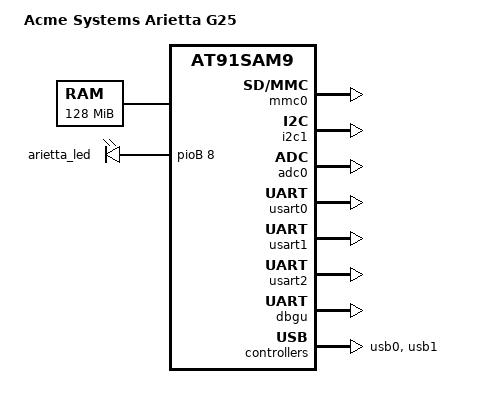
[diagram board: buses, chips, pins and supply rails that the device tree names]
/*
 * Device Tree file for Arietta G25
 * https://www.acmesystems.it/arietta
 */
 
/dts-v1/;
#include "at91sam9g25.dtsi"
/ {
	model = "Acme Systems Arietta G25";
	compatible = "acme,ariettag25", "atmel,at91sam9x5", "atmel,at91sam9";

	aliases {
		serial0 = &dbgu;
		serial1 = &usart0; /* /dev/ttyS1 */
		serial2 = &usart1; /* /dev/ttyS2 */
		serial3 = &usart2; /* /dev/ttyS3 */
	};

	chosen {
		stdout-path = "serial0:115200n8";
		bootargs = "mem=256M  console=ttyS0,115200 root=/dev/mmcblk0p2 rw rootwait";
	};

	memory {
		reg = <0x20000000 0x8000000>;
	};

	clocks {
		slow_xtal {
			clock-frequency = <32768>;
		};

		main_xtal {
			clock-frequency = <12000000>;
		};
	};

	ahb {
		apb {
			mmc0: mmc@f0008000 {
				pinctrl-0 = <
				  &pinctrl_mmc0_slot0_clk_cmd_dat0
				  &pinctrl_mmc0_slot0_dat1_3>;
				status = "okay";

				slot@0 {
					reg = <0>;
					bus-width = <4>;
				};
			};

			tcb0: timer@f8008000 {
				timer@0 {
					compatible = "atmel,tcb-timer";
					reg = <0>;
				};

				timer@1 {
					compatible = "atmel,tcb-timer";
					reg = <1>;
				};
			};

			/*i2c1: i2c@f8014000 {
				status ="okay";
			};*/

			pinctrl@fffff400 {
				adc0 {
					pinctrl_adc0_ad2: adc0_ad2 {
						atmel,pins = <AT91_PIOB 13 AT91_PERIPH_GPIO AT91_PINCTRL_NONE>;
					};
					pinctrl_adc0_ad3: adc0_ad3 {
						atmel,pins = <AT91_PIOB 14 AT91_PERIPH_GPIO AT91_PINCTRL_NONE>;
					};
				};
			};
			
			i2c1: i2c@f8014000 {
				status = "okay";
				pinctrl-names = "default";
				pinctrl-0 = <&pinctrl_i2c1>;
			};

			adc0: adc@f804c000 {
				status = "okay";
				pinctrl-names = "default";
				pinctrl-0 = <    
					&pinctrl_adc0_ad2 
					&pinctrl_adc0_ad3
					>;
				};

			usart0: serial@f801c000 {
				pinctrl-0 = <&pinctrl_usart0>;
				status ="okay";
			};

			usart1: serial@f8020000 {
				pinctrl-0 = <&pinctrl_usart1>;
				status ="okay";
			};
			
			usart2: serial@f8024000 {
				pinctrl-0 = <&pinctrl_usart2>;
				status ="okay";
			};

			usb2: gadget@f803c000 {
				/*status = "okay";*/
			};

			dbgu: serial@fffff200 {
				status = "okay";
			};

			rtc@fffffeb0 {
				status = "okay";
			};
		};

		usb0: ohci@600000 {
			status = "okay";
			/*num-ports = <3>;*/
		};

		usb1: ehci@700000 {
			status = "okay";
		};
	};

	leds {
		compatible = "gpio-leds";
		arietta_led {
			label = "arietta_led";
			gpios = <&pioB 8 GPIO_ACTIVE_HIGH>; /* PB8 */
			linux,default-trigger = "none";
		};
	};
};
